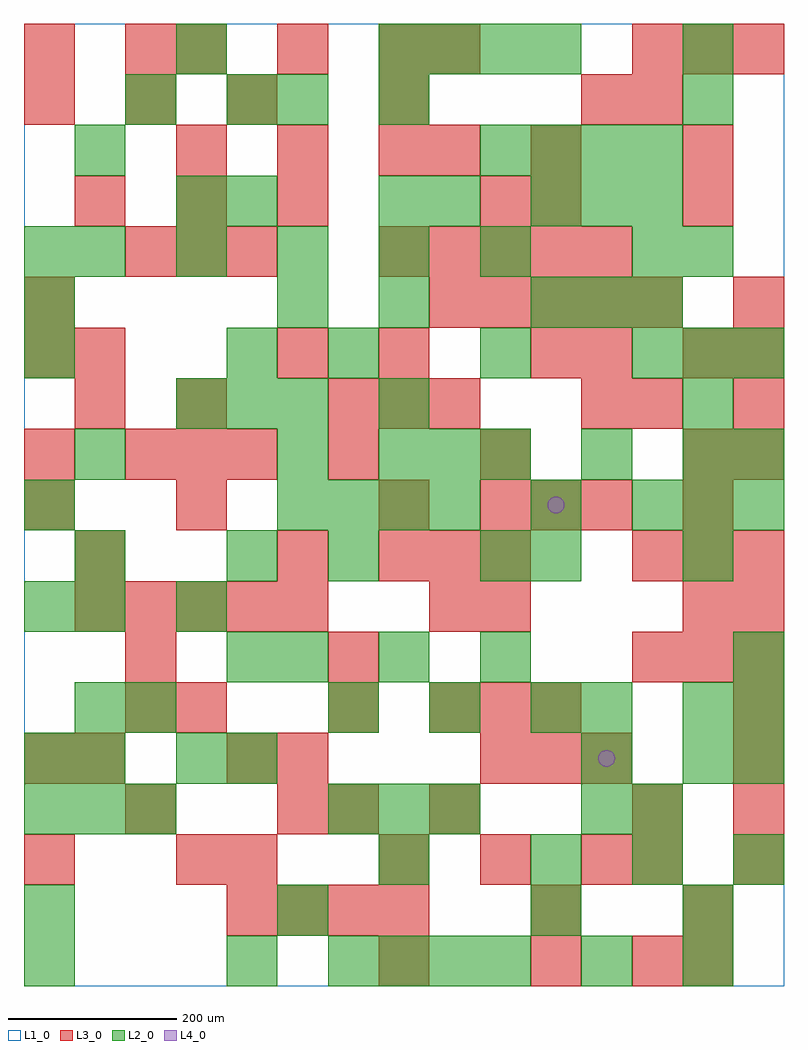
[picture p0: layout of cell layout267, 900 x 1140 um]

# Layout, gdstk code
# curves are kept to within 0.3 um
import gdstk
lib = gdstk.Library(unit=1e-6, precision=1e-09)
def R(c, l, rs):  # rectangles x0, y0, x1, y1
    for r in rs: c.add(gdstk.rectangle(r[:2], r[2:], *l))
def A(c, l, x, y, w, h, nx, ny, dx, dy):  # array of equal rectangles
    R(c, l, [(x+i*dx, y+j*dy, x+i*dx+w, y+j*dy+h) for i in range(nx) for j in range(ny)])
def P(c, l, *ps):  # polygons
    for p in ps: c.add(gdstk.Polygon(p, *l))
L1_0 = (1, 0)
L2_0 = (2, 0)
L3_0 = (3, 0)
L4_0 = (4, 0)

layout267 = lib.new_cell('layout267')
R(layout267, L1_0, [(0,0,900,1140)])
A(layout267, L2_0, 360, 0, 60, 60, 4, 1, 60, 0)
A(layout267, L2_0, 0, 60, 60, 60, 3, 1, 300, 0)
A(layout267, L2_0, 600, 120, 60, 60, 3, 1, 120, 0)
A(layout267, L2_0, 0, 180, 60, 60, 3, 1, 60, 0)
A(layout267, L2_0, 360, 180, 60, 60, 3, 1, 60, 0)
A(layout267, L2_0, 660, 180, 60, 60, 1, 3, 0, 60)
A(layout267, L2_0, 240, 240, 60, 60, 1, 3, 0, 120)
A(layout267, L2_0, 840, 240, 60, 60, 1, 3, 0, 60)
A(layout267, L2_0, 360, 300, 60, 60, 3, 1, 120, 0)
A(layout267, L2_0, 300, 360, 60, 60, 3, 1, 120, 0)
A(layout267, L2_0, 300, 540, 60, 60, 4, 1, 60, 0)
A(layout267, L2_0, 720, 540, 60, 60, 3, 1, 60, 0)
A(layout267, L2_0, 420, 600, 60, 60, 3, 1, 60, 0)
A(layout267, L2_0, 780, 600, 60, 60, 1, 3, 0, 60)
A(layout267, L2_0, 180, 660, 60, 60, 3, 1, 60, 0)
A(layout267, L2_0, 420, 660, 60, 60, 1, 4, 0, 120)
A(layout267, L2_0, 0, 720, 60, 60, 1, 3, 0, 60)
A(layout267, L2_0, 360, 720, 60, 60, 3, 1, 180, 0)
A(layout267, L2_0, 600, 780, 60, 60, 3, 2, 60, 120)
A(layout267, L2_0, 60, 840, 60, 60, 5, 1, 120, 0)
A(layout267, L2_0, 540, 960, 60, 60, 4, 1, 60, 0)
A(layout267, L2_0, 420, 1080, 60, 60, 4, 1, 60, 0)
R(layout267, L2_0, [(0,0,60,60), (240,0,300,60), (660,0,720,60), (780,0,840,60), (780,60,840,120), (420,120,480,180), (720,180,780,240), (0,240,60,300), (60,240,120,300), (180,240,240,300), (780,240,840,300), (60,300,120,360), (120,300,180,360), (780,300,840,360), (0,420,60,480), (60,420,120,480), (180,420,240,480), (60,480,120,540), (360,480,420,540), (540,480,600,540), (600,480,660,540), (780,480,840,540), (0,540,60,600), (600,540,660,600), (60,600,120,660), (300,600,360,660), (660,600,720,660), (840,600,900,660), (240,720,300,780), (840,720,900,780), (300,780,360,840), (720,840,780,900), (780,840,840,900), (180,900,240,960), (240,900,300,960), (480,900,540,960), (60,960,120,1020), (120,1020,180,1080), (240,1020,300,1080), (300,1020,360,1080), (780,1020,840,1080), (180,1080,240,1140), (780,1080,840,1140)])
A(layout267, L3_0, 240, 60, 60, 60, 4, 1, 60, 0)
A(layout267, L3_0, 420, 120, 60, 60, 3, 1, 120, 0)
A(layout267, L3_0, 840, 120, 60, 60, 1, 4, 0, 60)
A(layout267, L3_0, 300, 240, 60, 60, 1, 3, 0, 240)
A(layout267, L3_0, 540, 240, 60, 60, 3, 2, 60, 300)
A(layout267, L3_0, 480, 300, 60, 60, 3, 1, 60, 0)
A(layout267, L3_0, 720, 360, 60, 60, 3, 2, 60, 120)
A(layout267, L3_0, 60, 420, 60, 60, 5, 1, 60, 0)
A(layout267, L3_0, 420, 480, 60, 60, 3, 1, 60, 0)
A(layout267, L3_0, 120, 600, 60, 60, 3, 2, 60, 240)
A(layout267, L3_0, 840, 600, 60, 60, 1, 4, 0, 60)
A(layout267, L3_0, 360, 660, 60, 60, 3, 1, 60, 0)
A(layout267, L3_0, 480, 780, 60, 60, 5, 1, 60, 0)
A(layout267, L3_0, 420, 840, 60, 60, 5, 1, 60, 0)
A(layout267, L3_0, 60, 900, 60, 60, 3, 1, 120, 0)
A(layout267, L3_0, 180, 960, 60, 60, 3, 2, 120, 120)
A(layout267, L3_0, 0, 1020, 60, 60, 3, 1, 120, 0)
A(layout267, L3_0, 720, 1080, 60, 60, 3, 1, 60, 0)
R(layout267, L3_0, [(420,0,480,60), (600,0,660,60), (720,0,780,60), (780,0,840,60), (600,60,660,120), (780,60,840,120), (0,120,60,180), (180,120,240,180), (240,120,300,180), (720,120,780,180), (120,180,180,240), (300,180,360,240), (360,180,420,240), (480,180,540,240), (720,180,780,240), (0,240,60,300), (60,240,120,300), (240,240,300,300), (120,300,180,360), (180,300,240,360), (360,300,420,360), (120,360,180,420), (360,360,420,420), (480,420,540,480), (540,420,600,480), (780,420,840,480), (840,420,900,480), (60,480,120,540), (0,540,60,600), (180,540,240,600), (420,540,480,600), (780,540,840,600), (0,600,60,660), (360,600,420,660), (540,600,600,660), (780,600,840,660), (60,660,120,720), (180,660,240,720), (660,660,720,720), (720,660,780,720), (0,720,60,780), (60,720,120,780), (420,720,480,780), (600,720,660,780), (660,720,720,780), (780,720,840,780), (0,780,60,840), (540,900,600,960), (600,900,660,960), (780,900,840,960), (480,960,540,1020), (600,960,660,1020), (780,960,840,1020), (420,1020,480,1080), (660,1020,720,1080), (720,1020,780,1080), (0,1080,60,1140), (120,1080,180,1140), (480,1080,540,1140)])
P(layout267, L4_0, [(640,570),(639.239,573.827),(637.071,577.071),(633.827,579.239),(630,580),(626.173,579.239),(622.929,577.071),(620.761,573.827),(620,570),(620.761,566.173),(622.929,562.929),(626.173,560.761),(630,560),(633.827,560.761),(637.071,562.929),(639.239,566.173)],
  [(700,270),(699.239,273.827),(697.071,277.071),(693.827,279.239),(690,280),(686.173,279.239),(682.929,277.071),(680.761,273.827),(680,270),(680.761,266.173),(682.929,262.929),(686.173,260.761),(690,260),(693.827,260.761),(697.071,262.929),(699.239,266.173)])

lib.write_gds('layout267.gds')
